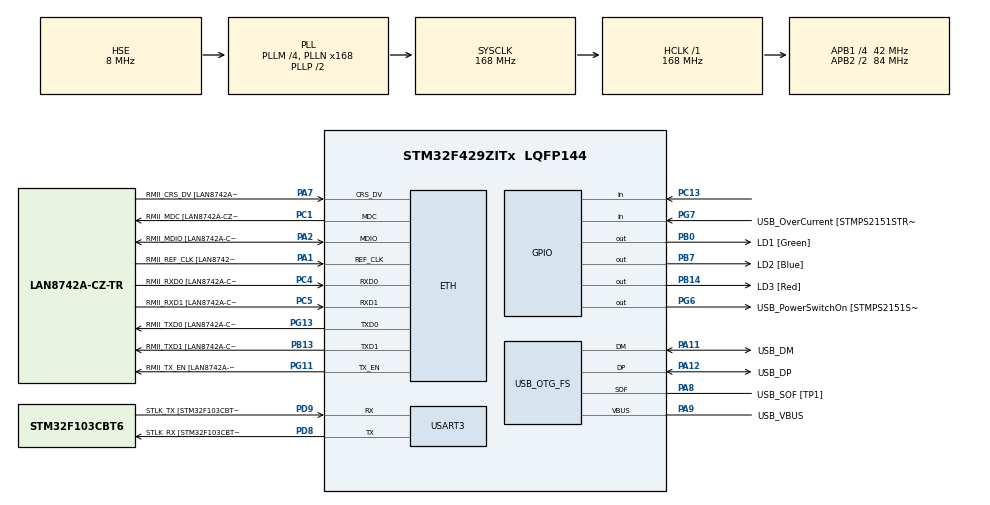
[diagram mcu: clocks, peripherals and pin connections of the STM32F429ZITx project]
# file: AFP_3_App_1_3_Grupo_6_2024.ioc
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ETH.MediaInterface=HAL_ETH_RMII_MODE
ETH.PHY_Name=LAN8742A_PHY_ADDRESS
ETH.PHY_Value=0
ETH.PhyAddress=0
Mcu.Family=STM32F4
Mcu.Name=STM32F429ZITx
Mcu.Package=LQFP144
NVIC.PriorityGroup=NVIC_PRIORITYGROUP_4
PA1.GPIO_Label=RMII_REF_CLK [LAN8742A-CZ-TR_REFCLK0]
PA1.Mode=RMII
PA1.Signal=ETH_REF_CLK
PA10.GPIO_Label=USB_ID
PA10.Signal=USB_OTG_FS_ID
PA11.GPIO_Label=USB_DM
PA11.Mode=Device_Only
PA11.Signal=USB_OTG_FS_DM
PA12.GPIO_Label=USB_DP
PA12.Mode=Device_Only
PA12.Signal=USB_OTG_FS_DP
PA13.GPIO_Label=TMS
PA13.Mode=Serial_Wire
PA13.Signal=SYS_JTMS-SWDIO
PA14.GPIO_Label=TCK
PA14.Mode=Serial_Wire
PA14.Signal=SYS_JTCK-SWCLK
PA2.GPIO_Label=RMII_MDIO [LAN8742A-CZ-TR_MDIO]
PA2.Mode=RMII
PA2.Signal=ETH_MDIO
PA7.GPIO_Label=RMII_CRS_DV [LAN8742A-CZ-TR_CRS_DV]
PA7.Mode=RMII
PA7.Signal=ETH_CRS_DV
PA8.GPIO_Label=USB_SOF [TP1]
PA8.Mode=Activate_SOF_FS
PA8.Signal=USB_OTG_FS_SOF
PA9.GPIO_Label=USB_VBUS
PA9.Mode=Activate_VBUS
PA9.Signal=USB_OTG_FS_VBUS
PB0.GPIO_Label=LD1 [Green]
PB0.Signal=GPIO_Output
PB13.GPIO_Label=RMII_TXD1 [LAN8742A-CZ-TR_TXD1]
PB13.Mode=RMII
PB13.Signal=ETH_TXD1
PB14.GPIO_Label=LD3 [Red]
PB14.Signal=GPIO_Output
PB7.GPIO_Label=LD2 [Blue]
PB7.Signal=GPIO_Output
PC1.GPIO_Label=RMII_MDC [LAN8742A-CZ-TR_MDC]
PC1.Mode=RMII
PC1.Signal=ETH_MDC
PC13.Signal=GPIO_Input
PC14/OSC32_IN.Mode=LSE-External-Oscillator
PC14/OSC32_IN.Signal=RCC_OSC32_IN
PC15/OSC32_OUT.Mode=LSE-External-Oscillator
PC15/OSC32_OUT.Signal=RCC_OSC32_OUT
PC4.GPIO_Label=RMII_RXD0 [LAN8742A-CZ-TR_RXD0]
PC4.Mode=RMII
PC4.Signal=ETH_RXD0
PC5.GPIO_Label=RMII_RXD1 [LAN8742A-CZ-TR_RXD1]
PC5.Mode=RMII
PC5.Signal=ETH_RXD1
PD8.GPIO_Label=STLK_RX [STM32F103CBT6_PA3]
PD8.Mode=Asynchronous
PD8.Signal=USART3_TX
PD9.GPIO_Label=STLK_TX [STM32F103CBT6_PA2]
PD9.Mode=Asynchronous
PD9.Signal=USART3_RX
PG11.GPIO_Label=RMII_TX_EN [LAN8742A-CZ-TR_TXEN]
PG11.Mode=RMII
PG11.Signal=ETH_TX_EN
PG13.GPIO_Label=RMII_TXD0 [LAN8742A-CZ-TR_TXD0]
PG13.Mode=RMII
PG13.Signal=ETH_TXD0
PG6.GPIO_Label=USB_PowerSwitchOn [STMPS2151STR_EN]
PG6.Signal=GPIO_Output
PG7.GPIO_Label=USB_OverCurrent [STMPS2151STR_FAULT]
PG7.Signal=GPIO_Input
PH0/OSC_IN.GPIO_Label=MCO [STM32F103CBT6_PA8]
PH0/OSC_IN.Mode=HSE-External-Clock-Source
PH0/OSC_IN.Signal=RCC_OSC_IN
PH1/OSC_OUT.Mode=HSE-External-Clock-Source
PH1/OSC_OUT.Signal=RCC_OSC_OUT
ProjectManager.HeapSize=0x200
ProjectManager.StackSize=0x400
ProjectManager.TargetToolchain=STM32CubeIDE
RCC.48MHZClocksFreq_Value=48000000
RCC.AHBFreq_Value=168000000
RCC.APB1CLKDivider=RCC_HCLK_DIV4
RCC.APB1Freq_Value=42000000
RCC.APB1TimFreq_Value=84000000
RCC.APB2CLKDivider=RCC_HCLK_DIV2
RCC.APB2Freq_Value=84000000
RCC.APB2TimCLKDivider=2
RCC.APB2TimFreq_Value=168000000
RCC.CortexFreq_Value=168000000
RCC.HCLKFreq_Value=168000000
RCC.HSE_VALUE=8000000
RCC.HSI_VALUE=16000000
RCC.PLLM=4
RCC.PLLMUL=RCC_PLL_MUL9
RCC.PLLN=168
RCC.PLLQ=7
RCC.PRESCALERUSB=RCC_USBCLKSOURCE_PLL_DIV1_5
RCC.SYSCLKFreq_VALUE=168000000
RCC.SYSCLKSource=RCC_SYSCLKSOURCE_PLLCLK
RCC.SYSCLKSourceVirtual=RCC_SYSCLKSOURCE_PLLCLK
RCC.USBFreq_Value=48000000
RCC.VCOOutputFreq_Value=336000000
USART3.VirtualMode=VM_ASYNC
USB_OTG_FS.VirtualMode=Device_Only
board=NUCLEO-F429ZI

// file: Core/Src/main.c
/* USER CODE BEGIN Header */
/**
  ******************************************************************************
  * @file           : main.c
  * @brief          : Main program body
  ******************************************************************************
  * @attention
  *
  * Copyright (c) 2024 STMicroelectronics.
  * All rights reserved.
  *
  * This software is licensed under terms that can be found in the LICENSE file
  * in the root directory of this software component.
  * If no LICENSE file comes with this software, it is provided AS-IS.
  *
  ******************************************************************************
  */
/* USER CODE END Header */
#include "main.h"
#include "API_GPIO.h"  // Incluyo el driver GPIO
#include "string.h"
#include "API_delay.h"

ETH_TxPacketConfig TxConfig;
ETH_DMADescTypeDef  DMARxDscrTab[ETH_RX_DESC_CNT]; /* Ethernet Rx DMA Descriptors */
ETH_DMADescTypeDef  DMATxDscrTab[ETH_TX_DESC_CNT]; /* Ethernet Tx DMA Descriptors */

ETH_HandleTypeDef heth;

UART_HandleTypeDef huart3;

PCD_HandleTypeDef hpcd_USB_OTG_FS;

/* USER CODE BEGIN PV */
GPIO_TypeDef* LED_PORTS[] = {GPIOB, GPIOB, GPIOB};
uint16_t LED_PINS[] = {GPIO_PIN_0, GPIO_PIN_7, GPIO_PIN_14};
int num_leds = 3;
int direction = 1; // 1 para adelante, -1 para atras
uint8_t button_state = 0;
uint8_t last_button_state = 0;
int sequence = 0; // Secuencia actual (0 a 3)

delay_t delay_led1;
delay_t delay_led2;
delay_t delay_led3;
delay_t delay_sequence;
int current_led = 0;  // Para controlar qué LED está activo en la secuencia 1

/* USER CODE END PV */

void SystemClock_Config(void);
void MX_GPIO_Init(void);
static void MX_ETH_Init(void);
static void MX_USART3_UART_Init(void);
static void MX_USB_OTG_FS_PCD_Init(void);

/* USER CODE BEGIN 0 */
/* Funcion para secuencia 1 */
void Secuencia1() {
	static bool init_delay = false;

	if (!init_delay) {
	        delayInit(&delay_sequence, 150);
	        init_delay = true;
	    }

	    if (delayRead(&delay_sequence)) {
	        LED_Off((led_T)current_led);
	        current_led = (current_led + 1) % num_leds;
	        LED_On((led_T)current_led);
	    }
}
/* Funcion para secuencia 2 */
void Secuencia2() {
	static bool init_delay = false;
	    static bool leds_on = false;

	    if (!init_delay) {
	        delayInit(&delay_sequence, 300);
	        init_delay = true;
	    }

	    if (delayRead(&delay_sequence)) {
	        if (leds_on) {
	            for (int i = 0; i < num_leds; i++) {
	                LED_Off((led_T)i);
	            }
	        } else {
	            for (int i = 0; i < num_leds; i++) {
	                LED_On((led_T)i);
	            }
	        }
	        leds_on = !leds_on;
	    }
}
/* Funcion para secuencia 3 */
void Secuencia3() {

	static bool init_delays = false;

	    if (!init_delays) {
	        delayInit(&delay_led1, 100);
	        delayInit(&delay_led2, 300);
	        delayInit(&delay_led3, 600);
	        init_delays = true;
	    }

	    if (delayRead(&delay_led1)) {
	        LED_Toggle(LD1);
	    }

	    if (delayRead(&delay_led2)) {
	        LED_Toggle(LD2);
	    }

	    if (delayRead(&delay_led3)) {
	        LED_Toggle(LD3);
	    }

}

/* Funcion para secuencia 4 */
void Secuencia4() {
	static bool init_delay = false;
	    static bool state = false;

	    if (!init_delay) {
	        delayInit(&delay_sequence, 150);
	        init_delay = true;
	    }

	    if (delayRead(&delay_sequence)) {
	        if (state) {
	            LED_Off(LD1);
	            LED_Off(LD3);
	            LED_On(LD2);
	        } else {
	            LED_On(LD1);
	            LED_On(LD3);
	            LED_Off(LD2);
	        }
	        state = !state;
	    }
}

/* USER CODE END 0 */

int main(void)
{

  /* MCU Configuration--------------------------------------------------------*/
  /* Reset of all peripherals, Initializes the Flash interface and the Systick. */
  HAL_Init();

  /* Configure the system clock */
  SystemClock_Config();

  /* Initialize all configured peripherals */
  MX_GPIO_Init();
  MX_ETH_Init();
  MX_USART3_UART_Init();
  MX_USB_OTG_FS_PCD_Init();

  /* USER CODE BEGIN 2 */

  /* Infinite loop */
  /* USER CODE BEGIN WHILE */
  while (1)
  {
      // Leer el estado del pulsador
      button_state = readButton_GPIO();

      // Detectar el flanco de subida (cambio de estado de 0 a 1)
      if (button_state && !last_button_state)
      {
          sequence = (sequence + 1) % 4; // Cambiar a la siguiente secuencia
          // Reiniciar las variables de inicialización al cambiar de secuencia
          for (int i = 0; i < num_leds; i++) {
                      LED_Off((led_T)i);
                  }
      }

      last_button_state = button_state; // Actualizar el estado del pulsador

      // Ejecutar la secuencia actual
      switch (sequence) {
          case 0:
              Secuencia1();
              break;
          case 1:
              Secuencia2();
              break;
          case 2:
              Secuencia3();
              break;
          case 3:
              Secuencia4();
              break;
          default:
              break;
      }
  }
  /* USER CODE END WHILE */

}

void SystemClock_Config(void)
{
  RCC_OscInitTypeDef RCC_OscInitStruct = {0};
  RCC_ClkInitTypeDef RCC_ClkInitStruct = {0};

  /** Configure the main internal regulator output voltage
  */
  __HAL_RCC_PWR_CLK_ENABLE();
  __HAL_PWR_VOLTAGESCALING_CONFIG(PWR_REGULATOR_VOLTAGE_SCALE1);

  /** Initializes the RCC Oscillators according to the specified parameters
  * in the RCC_OscInitTypeDef structure.
  */
  RCC_OscInitStruct.OscillatorType = RCC_OSCILLATORTYPE_HSE;
  RCC_OscInitStruct.HSEState = RCC_HSE_BYPASS;
  RCC_OscInitStruct.PLL.PLLState = RCC_PLL_ON;
  RCC_OscInitStruct.PLL.PLLSource = RCC_PLLSOURCE_HSE;
  RCC_OscInitStruct.PLL.PLLM = 4;
  RCC_OscInitStruct.PLL.PLLN = 168;
  RCC_OscInitStruct.PLL.PLLP = RCC_PLLP_DIV2;
  RCC_OscInitStruct.PLL.PLLQ = 7;
  if (HAL_RCC_OscConfig(&RCC_OscInitStruct) != HAL_OK)
  {
    Error_Handler();
  }

  /** Initializes the CPU, AHB and APB buses clocks
  */
  RCC_ClkInitStruct.ClockType = RCC_CLOCKTYPE_HCLK|RCC_CLOCKTYPE_SYSCLK
                              |RCC_CLOCKTYPE_PCLK1|RCC_CLOCKTYPE_PCLK2;
  RCC_ClkInitStruct.SYSCLKSource = RCC_SYSCLKSOURCE_PLLCLK;
  RCC_ClkInitStruct.AHBCLKDivider = RCC_SYSCLK_DIV1;
  RCC_ClkInitStruct.APB1CLKDivider = RCC_HCLK_DIV4;
  RCC_ClkInitStruct.APB2CLKDivider = RCC_HCLK_DIV2;

  if (HAL_RCC_ClockConfig(&RCC_ClkInitStruct, FLASH_LATENCY_5) != HAL_OK)
  {
    Error_Handler();
  }
}

static void MX_ETH_Init(void)
{
  static uint8_t MACAddr[6];

  heth.Instance = ETH;
  MACAddr[0] = 0x00;
  MACAddr[1] = 0x80;
  MACAddr[2] = 0xE1;
  MACAddr[3] = 0x00;
  MACAddr[4] = 0x00;
  MACAddr[5] = 0x00;
  heth.Init.MACAddr = &MACAddr[0];
  heth.Init.MediaInterface = HAL_ETH_RMII_MODE;
  heth.Init.RxBuffLen = 1524; // Cambiado a RxBuffLen

  if (HAL_ETH_Init(&heth) != HAL_OK)
  {
    Error_Handler();
  }

  memset(&TxConfig, 0, sizeof(TxConfig));
  TxConfig.Attributes = ETH_TX_PACKETS_FEATURES_CSUM | ETH_TX_PACKETS_FEATURES_CRCPAD;
  TxConfig.ChecksumCtrl = ETH_CHECKSUM_IPHDR_PAYLOAD_INSERT_PHDR_CALC;
  TxConfig.CRCPadCtrl = ETH_CRC_PAD_INSERT;
}

static void MX_USART3_UART_Init(void)
{
  huart3.Instance = USART3;
  huart3.Init.BaudRate = 115200;
  huart3.Init.WordLength = UART_WORDLENGTH_8B;
  huart3.Init.StopBits = UART_STOPBITS_1;
  huart3.Init.Parity = UART_PARITY_NONE;
  huart3.Init.Mode = UART_MODE_TX_RX;
  huart3.Init.HwFlowCtl = UART_HWCONTROL_NONE;
  huart3.Init.OverSampling = UART_OVERSAMPLING_16;
  if (HAL_UART_Init(&huart3) != HAL_OK)
  {
    Error_Handler();
  }
}

static void MX_USB_OTG_FS_PCD_Init(void)
{
  hpcd_USB_OTG_FS.Instance = USB_OTG_FS;
  hpcd_USB_OTG_FS.Init.dev_endpoints = 4;
  hpcd_USB_OTG_FS.Init.speed = PCD_SPEED_FULL;
  hpcd_USB_OTG_FS.Init.dma_enable = DISABLE;
  hpcd_USB_OTG_FS.Init.phy_itface = PCD_PHY_EMBEDDED;
  hpcd_USB_OTG_FS.Init.Sof_enable = ENABLE;
  hpcd_USB_OTG_FS.Init.low_power_enable = DISABLE;
  hpcd_USB_OTG_FS.Init.lpm_enable = DISABLE;
  hpcd_USB_OTG_FS.Init.battery_charging_enable = ENABLE;
  if (HAL_PCD_Init(&hpcd_USB_OTG_FS) != HAL_OK)
  {
    Error_Handler();
  }
}

/*void MX_GPIO_Init(void)
{*/
  /*GPIO_InitTypeDef GPIO_InitStruct = {0};*/

  /* GPIO Ports Clock Enable */
  /*HAL_RCC_GPIOC_CLK_ENABLE();*/
/*HAL_RCC_GPIOH_CLK_ENABLE();*/
  /*HAL_RCC_GPIOA_CLK_ENABLE();*/
  /*HAL_RCC_GPIOB_CLK_ENABLE();*/

  /*Configure GPIO pin Output Level */
  /*HAL_GPIO_WritePin(GPIOB, GPIO_PIN_0|GPIO_PIN_7|GPIO_PIN_14, GPIO_PIN_RESET);*/

  /*Configure GPIO pin : PC13 */
  /*GPIO_InitStruct.Pin = GPIO_PIN_13;
  GPIO_InitStruct.Mode = GPIO_MODE_INPUT;
  GPIO_InitStruct.Pull = GPIO_NOPULL;
  HAL_GPIO_Init(GPIOC, &GPIO_InitStruct);*/

  /*Configure GPIO pins : PB0 PB7 PB14 */
  /*GPIO_InitStruct.Pin = GPIO_PIN_0|GPIO_PIN_7|GPIO_PIN_14;
  GPIO_InitStruct.Mode = GPIO_MODE_OUTPUT_PP;
  GPIO_InitStruct.Pull = GPIO_NOPULL;
  GPIO_InitStruct.Speed = GPIO_SPEED_FREQ_LOW;
  HAL_GPIO_Init(GPIOB, &GPIO_InitStruct);
}*/

void Error_Handler(void)
{
}
